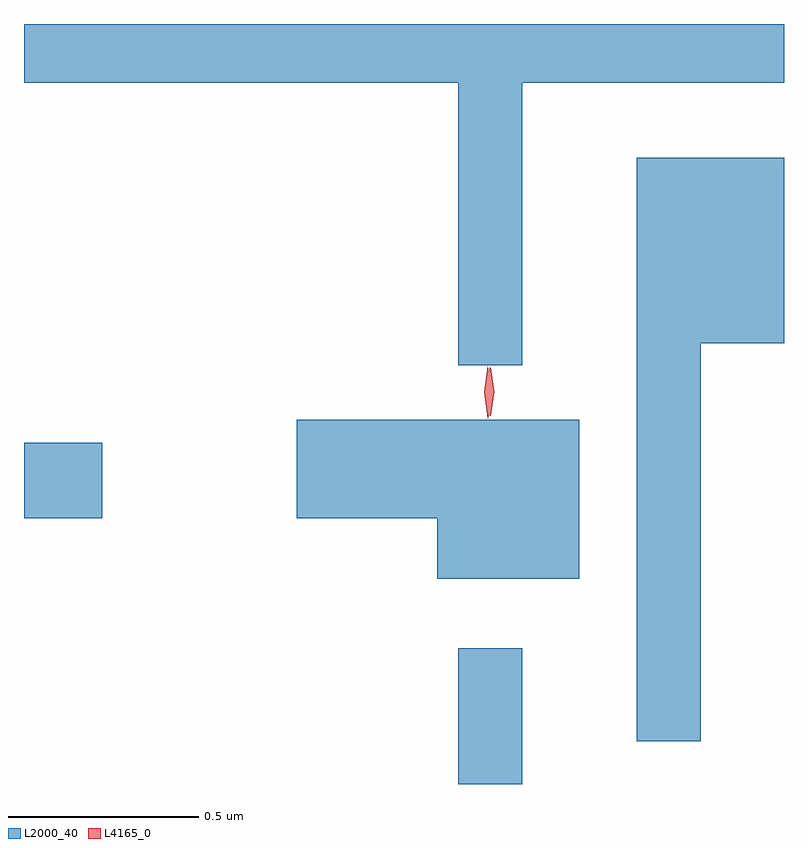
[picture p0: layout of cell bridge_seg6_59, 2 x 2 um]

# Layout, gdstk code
import gdstk
lib = gdstk.Library(unit=1e-6, precision=1e-09)
def R(c, l, rs):  # rectangles x0, y0, x1, y1
    for r in rs: c.add(gdstk.rectangle(r[:2], r[2:], *l))
def P(c, l, *ps):  # polygons
    for p in ps: c.add(gdstk.Polygon(p, *l))
L2000_40 = (2000, 40)
L4165_0 = (4165, 0)

bridge_seg6_59 = lib.new_cell('bridge_seg6_59')
R(bridge_seg6_59, L2000_40, [(1599.521,1597.031,1599.689,1597.388), (1598.378,1597.731,1598.584,1597.929)])
P(bridge_seg6_59, L2000_40, [(1599.689,1598.876),(1600.378,1598.876),(1600.378,1599.031),(1598.378,1599.031),(1598.378,1598.876),(1599.521,1598.876),(1599.521,1598.133),(1599.689,1598.133)],
  [(1600.159,1598.191),(1600.378,1598.191),(1600.378,1598.679),(1599.991,1598.679),(1599.991,1597.143),(1600.159,1597.143)],
  [(1599.839,1597.989),(1599.096,1597.989),(1599.096,1597.731),(1599.466,1597.731),(1599.466,1597.571),(1599.839,1597.571)])
P(bridge_seg6_59, L4165_0, [(1599.604,1598),(1599.595,1598.063),(1599.604,1598.126),(1599.605,1598.127),(1599.606,1598.126),(1599.615,1598.063),(1599.606,1598),(1599.605,1598)],
  [(1599.599,1597.994),(1599.589,1598.062),(1599.598,1598.13),(1599.598,1598.13),(1599.599,1598.13),(1599.609,1598.062),(1599.6,1597.994),(1599.6,1597.994)])

lib.write_gds('bridge_seg6_59.gds')
